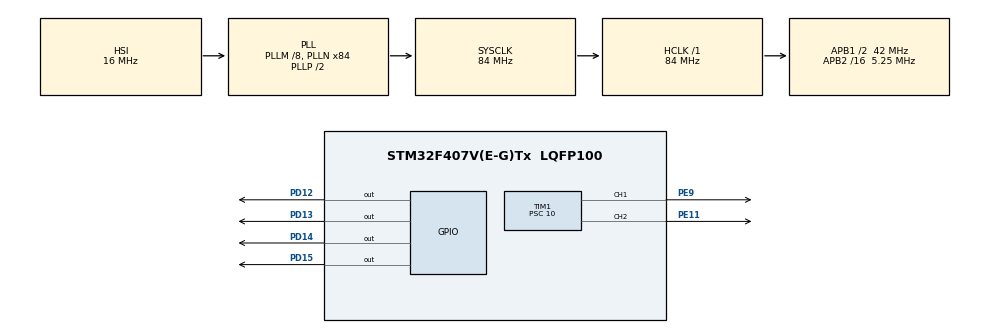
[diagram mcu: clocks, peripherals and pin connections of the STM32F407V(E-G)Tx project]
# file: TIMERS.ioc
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Mcu.Family=STM32F4
Mcu.Name=STM32F407V(E-G)Tx
Mcu.Package=LQFP100
NVIC.PriorityGroup=NVIC_PRIORITYGROUP_0
NVIC.TIM1_UP_TIM10_IRQn=true\:0\:0\:false\:false\:true\:true\:true\:true
NVIC.TIM7_IRQn=true\:0\:0\:false\:false\:true\:true\:true\:true
PD12.Signal=GPIO_Output
PD13.Signal=GPIO_Output
PD14.Signal=GPIO_Output
PD15.Signal=GPIO_Output
PE11.Signal=S_TIM1_CH2
PE9.Signal=S_TIM1_CH1
ProjectManager.HeapSize=0x200
ProjectManager.StackSize=0x400
ProjectManager.TargetToolchain=STM32CubeIDE
RCC.48MHZClocksFreq_Value=24000000
RCC.AHBFreq_Value=84000000
RCC.APB1CLKDivider=RCC_HCLK_DIV2
RCC.APB1Freq_Value=42000000
RCC.APB1TimFreq_Value=84000000
RCC.APB2CLKDivider=RCC_HCLK_DIV16
RCC.APB2Freq_Value=5250000
RCC.APB2TimFreq_Value=10500000
RCC.CortexFreq_Value=84000000
RCC.HCLKFreq_Value=84000000
RCC.HSE_VALUE=8000000
RCC.HSI_VALUE=16000000
RCC.LSE_VALUE=32768
RCC.PLLM=8
RCC.PLLN=84
RCC.PLLQ=7
RCC.SYSCLKFreq_VALUE=84000000
RCC.SYSCLKSource=RCC_SYSCLKSOURCE_PLLCLK
RCC.VCOOutputFreq_Value=168000000
SH.S_TIM1_CH1.0=TIM1_CH1,PWM Generation1 CH1
SH.S_TIM1_CH2.0=TIM1_CH2,PWM Generation2 CH2
TIM1.Channel-PWM\ Generation1\ CH1=TIM_CHANNEL_1
TIM1.Channel-PWM\ Generation2\ CH2=TIM_CHANNEL_2
TIM1.Period=6000
TIM1.Prescaler=10
TIM10.Period=20000
TIM10.Prescaler=1050-1
TIM7.Period=10000
TIM7.Prescaler=8400-1
VP_TIM10_VS_ClockSourceINT.Mode=Enable_Timer
VP_TIM7_VS_ClockSourceINT.Mode=Enable_Timer
board=STM32F407G-DISC1

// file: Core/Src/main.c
/* USER CODE BEGIN Header */
/**
  ******************************************************************************
  * @file           : main.c
  * @brief          : Main program body
  ******************************************************************************
  * @attention
  *
  * Copyright (c) 2024 STMicroelectronics.
  * All rights reserved.
  *
  * This software is licensed under terms that can be found in the LICENSE file
  * in the root directory of this software component.
  * If no LICENSE file comes with this software, it is provided AS-IS.
  *
  ******************************************************************************
  */
/* USER CODE END Header */
#include "main.h"

TIM_HandleTypeDef htim1;
TIM_HandleTypeDef htim7;
TIM_HandleTypeDef htim10;

/* USER CODE BEGIN PV */
void HAL_TIM_PeriodElapsedCallback(TIM_HandleTypeDef *htim)
{
if (htim==&htim7){

  HAL_GPIO_TogglePin(GPIOD, GPIO_PIN_15);
  HAL_GPIO_TogglePin(GPIOD, GPIO_PIN_12);
}

else {
  HAL_GPIO_TogglePin(GPIOD, GPIO_PIN_13);
  HAL_GPIO_TogglePin(GPIOD, GPIO_PIN_14);

}

}
void run_motors(int PWMR, int PWML){
	if(PWMR>0){
		htim1.Instance->CCR1=PWMR;
		htim1.Instance->CCR2=0;

		/* Tnajmou testa3mlou el function hedhi ama netsawer enek tbdel el ccr mel register toul as'hel
		__HAL_TIM_SetCompare(&htim1,TIM_CHANNEL_1, PWMR);
		__HAL_TIM_SetCompare(&htim1,TIM_CHANNEL_2, 0);
		*/
	}
	else {
		htim1.Instance->CCR1=0;
		htim1.Instance->CCR2=-PWMR;
		/*
		__HAL_TIM_SetCompare(&htim1,TIM_CHANNEL_1, 0);
		__HAL_TIM_SetCompare(&htim1,TIM_CHANNEL_2, -PWMR);
		*/

	}
	if(PWML>0){
		htim1.Instance->CCR3=PWML;
		htim1.Instance->CCR4=0;
	}
	else {
		htim1.Instance->CCR3=0;
		htim1.Instance->CCR4=-PWML;
	}
}
/* USER CODE END PV */

void SystemClock_Config(void);
static void MX_GPIO_Init(void);
static void MX_TIM1_Init(void);
static void MX_TIM7_Init(void);
static void MX_TIM10_Init(void);

int main(void)
{

  /* MCU Configuration--------------------------------------------------------*/

  /* Reset of all peripherals, Initializes the Flash interface and the Systick. */
  HAL_Init();

  /* Configure the system clock */
  SystemClock_Config();

  /* Initialize all configured peripherals */
  MX_GPIO_Init();
  MX_TIM1_Init();
  MX_TIM7_Init();
  MX_TIM10_Init();
  /* USER CODE BEGIN 2 */
  HAL_TIM_Base_Start_IT(&htim7);
  HAL_TIM_Base_Start_IT(&htim10);
  HAL_TIM_PWM_Start(&htim1, TIM_CHANNEL_1);
  HAL_TIM_PWM_Start(&htim1, TIM_CHANNEL_2);
  HAL_TIM_PWM_Start(&htim1, TIM_CHANNEL_3);
  HAL_TIM_PWM_Start(&htim1, TIM_CHANNEL_4);

  /* USER CODE END 2 */

  /* Infinite loop */
  while (1)
  {
	  run_motors(4500, 4500);
	  HAL_Delay(1000);
	  run_motors(0, 0);
	  HAL_Delay(1000);
	  run_motors(-4500, -4500);
	  HAL_Delay(1000);
	  run_motors(0, 0);
	  HAL_Delay(1000);

  }
}

void SystemClock_Config(void)
{
  RCC_OscInitTypeDef RCC_OscInitStruct = {0};
  RCC_ClkInitTypeDef RCC_ClkInitStruct = {0};

  /** Configure the main internal regulator output voltage
  */
  __HAL_RCC_PWR_CLK_ENABLE();
  __HAL_PWR_VOLTAGESCALING_CONFIG(PWR_REGULATOR_VOLTAGE_SCALE1);

  /** Initializes the RCC Oscillators according to the specified parameters
  * in the RCC_OscInitTypeDef structure.
  */
  RCC_OscInitStruct.OscillatorType = RCC_OSCILLATORTYPE_HSI;
  RCC_OscInitStruct.HSIState = RCC_HSI_ON;
  RCC_OscInitStruct.HSICalibrationValue = RCC_HSICALIBRATION_DEFAULT;
  RCC_OscInitStruct.PLL.PLLState = RCC_PLL_ON;
  RCC_OscInitStruct.PLL.PLLSource = RCC_PLLSOURCE_HSI;
  RCC_OscInitStruct.PLL.PLLM = 8;
  RCC_OscInitStruct.PLL.PLLN = 84;
  RCC_OscInitStruct.PLL.PLLP = RCC_PLLP_DIV2;
  RCC_OscInitStruct.PLL.PLLQ = 7;
  if (HAL_RCC_OscConfig(&RCC_OscInitStruct) != HAL_OK)
  {
    Error_Handler();
  }

  /** Initializes the CPU, AHB and APB buses clocks
  */
  RCC_ClkInitStruct.ClockType = RCC_CLOCKTYPE_HCLK|RCC_CLOCKTYPE_SYSCLK
                              |RCC_CLOCKTYPE_PCLK1|RCC_CLOCKTYPE_PCLK2;
  RCC_ClkInitStruct.SYSCLKSource = RCC_SYSCLKSOURCE_PLLCLK;
  RCC_ClkInitStruct.AHBCLKDivider = RCC_SYSCLK_DIV1;
  RCC_ClkInitStruct.APB1CLKDivider = RCC_HCLK_DIV2;
  RCC_ClkInitStruct.APB2CLKDivider = RCC_HCLK_DIV16;

  if (HAL_RCC_ClockConfig(&RCC_ClkInitStruct, FLASH_LATENCY_2) != HAL_OK)
  {
    Error_Handler();
  }
}

static void MX_TIM1_Init(void)
{

  TIM_MasterConfigTypeDef sMasterConfig = {0};
  TIM_OC_InitTypeDef sConfigOC = {0};
  TIM_BreakDeadTimeConfigTypeDef sBreakDeadTimeConfig = {0};

  htim1.Instance = TIM1;
  htim1.Init.Prescaler = 10;
  htim1.Init.CounterMode = TIM_COUNTERMODE_UP;
  htim1.Init.Period = 6000;
  htim1.Init.ClockDivision = TIM_CLOCKDIVISION_DIV1;
  htim1.Init.RepetitionCounter = 0;
  htim1.Init.AutoReloadPreload = TIM_AUTORELOAD_PRELOAD_DISABLE;
  if (HAL_TIM_PWM_Init(&htim1) != HAL_OK)
  {
    Error_Handler();
  }
  sMasterConfig.MasterOutputTrigger = TIM_TRGO_RESET;
  sMasterConfig.MasterSlaveMode = TIM_MASTERSLAVEMODE_DISABLE;
  if (HAL_TIMEx_MasterConfigSynchronization(&htim1, &sMasterConfig) != HAL_OK)
  {
    Error_Handler();
  }
  sConfigOC.OCMode = TIM_OCMODE_PWM1;
  sConfigOC.Pulse = 0;
  sConfigOC.OCPolarity = TIM_OCPOLARITY_HIGH;
  sConfigOC.OCNPolarity = TIM_OCNPOLARITY_HIGH;
  sConfigOC.OCFastMode = TIM_OCFAST_DISABLE;
  sConfigOC.OCIdleState = TIM_OCIDLESTATE_RESET;
  sConfigOC.OCNIdleState = TIM_OCNIDLESTATE_RESET;
  if (HAL_TIM_PWM_ConfigChannel(&htim1, &sConfigOC, TIM_CHANNEL_1) != HAL_OK)
  {
    Error_Handler();
  }
  if (HAL_TIM_PWM_ConfigChannel(&htim1, &sConfigOC, TIM_CHANNEL_2) != HAL_OK)
  {
    Error_Handler();
  }
  sBreakDeadTimeConfig.OffStateRunMode = TIM_OSSR_DISABLE;
  sBreakDeadTimeConfig.OffStateIDLEMode = TIM_OSSI_DISABLE;
  sBreakDeadTimeConfig.LockLevel = TIM_LOCKLEVEL_OFF;
  sBreakDeadTimeConfig.DeadTime = 0;
  sBreakDeadTimeConfig.BreakState = TIM_BREAK_DISABLE;
  sBreakDeadTimeConfig.BreakPolarity = TIM_BREAKPOLARITY_HIGH;
  sBreakDeadTimeConfig.AutomaticOutput = TIM_AUTOMATICOUTPUT_DISABLE;
  if (HAL_TIMEx_ConfigBreakDeadTime(&htim1, &sBreakDeadTimeConfig) != HAL_OK)
  {
    Error_Handler();
  }
  HAL_TIM_MspPostInit(&htim1);

}

static void MX_TIM7_Init(void)
{

  TIM_MasterConfigTypeDef sMasterConfig = {0};

  htim7.Instance = TIM7;
  htim7.Init.Prescaler = 8400-1;
  htim7.Init.CounterMode = TIM_COUNTERMODE_UP;
  htim7.Init.Period = 10000;
  htim7.Init.AutoReloadPreload = TIM_AUTORELOAD_PRELOAD_DISABLE;
  if (HAL_TIM_Base_Init(&htim7) != HAL_OK)
  {
    Error_Handler();
  }
  sMasterConfig.MasterOutputTrigger = TIM_TRGO_RESET;
  sMasterConfig.MasterSlaveMode = TIM_MASTERSLAVEMODE_DISABLE;
  if (HAL_TIMEx_MasterConfigSynchronization(&htim7, &sMasterConfig) != HAL_OK)
  {
    Error_Handler();
  }

}

static void MX_TIM10_Init(void)
{

  htim10.Instance = TIM10;
  htim10.Init.Prescaler = 1050-1;
  htim10.Init.CounterMode = TIM_COUNTERMODE_UP;
  htim10.Init.Period = 20000;
  htim10.Init.ClockDivision = TIM_CLOCKDIVISION_DIV1;
  htim10.Init.AutoReloadPreload = TIM_AUTORELOAD_PRELOAD_DISABLE;
  if (HAL_TIM_Base_Init(&htim10) != HAL_OK)
  {
    Error_Handler();
  }

}

static void MX_GPIO_Init(void)
{
  GPIO_InitTypeDef GPIO_InitStruct = {0};

  /* GPIO Ports Clock Enable */
  __HAL_RCC_GPIOE_CLK_ENABLE();
  __HAL_RCC_GPIOD_CLK_ENABLE();

  /*Configure GPIO pin Output Level */
  HAL_GPIO_WritePin(GPIOD, GPIO_PIN_12|GPIO_PIN_13|GPIO_PIN_14|GPIO_PIN_15, GPIO_PIN_RESET);

  /*Configure GPIO pins : PD12 PD13 PD14 PD15 */
  GPIO_InitStruct.Pin = GPIO_PIN_12|GPIO_PIN_13|GPIO_PIN_14|GPIO_PIN_15;
  GPIO_InitStruct.Mode = GPIO_MODE_OUTPUT_PP;
  GPIO_InitStruct.Pull = GPIO_NOPULL;
  GPIO_InitStruct.Speed = GPIO_SPEED_FREQ_LOW;
  HAL_GPIO_Init(GPIOD, &GPIO_InitStruct);

}

void Error_Handler(void)
{
  __disable_irq();
  while (1)
  {
  }
}
